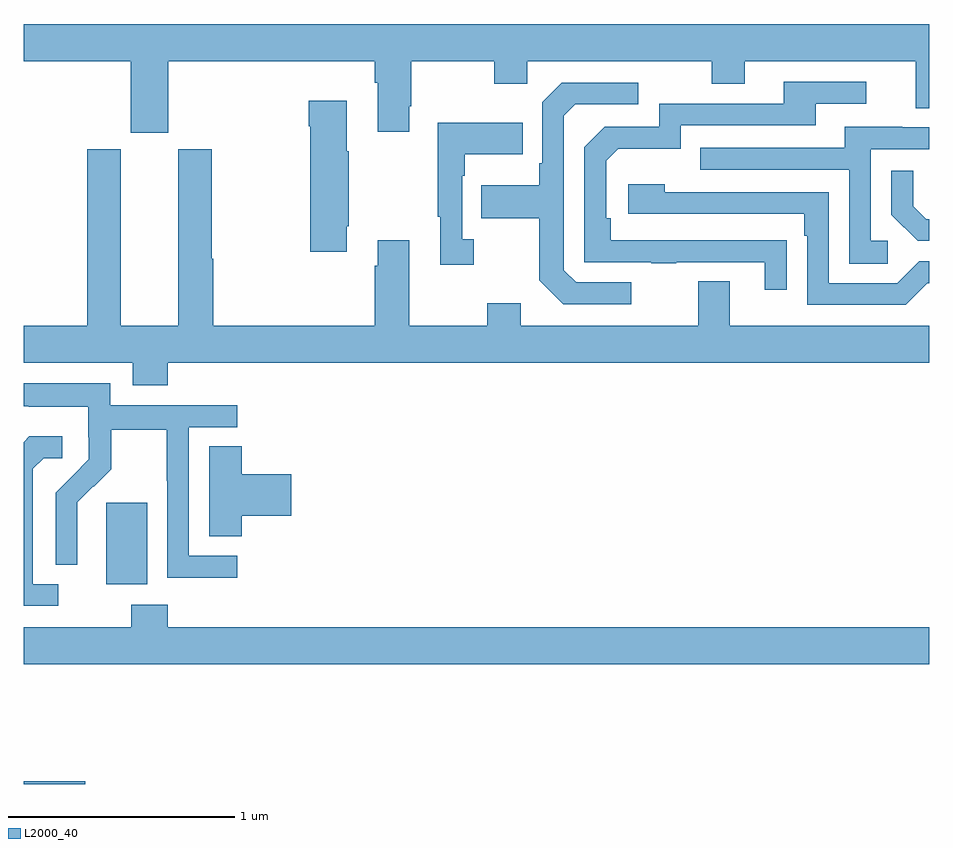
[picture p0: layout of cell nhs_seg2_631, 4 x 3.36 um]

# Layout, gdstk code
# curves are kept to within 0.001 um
import gdstk
lib = gdstk.Library(unit=1e-6, precision=1e-09)
def R(c, l, rs):  # rectangles x0, y0, x1, y1
    for r in rs: c.add(gdstk.rectangle(r[:2], r[2:], *l))
def P(c, l, *ps):  # polygons
    for p in ps: c.add(gdstk.Polygon(p, *l))
L2000_40 = (2000, 40)

nhs_seg2_631 = lib.new_cell('nhs_seg2_631')
R(nhs_seg2_631, L2000_40, [(143,621.8,143.272,621.812), (143.366,622.682,143.545,623.043)])
P(nhs_seg2_631, L2000_40, [(143.638,624.992),(144.551,624.992),(144.551,624.896),(144.563,624.896),(144.563,624.681),(144.703,624.681),(144.703,624.793),(144.711,624.793),(144.711,624.992),(145.078,624.992),(145.078,624.893),(145.224,624.893),(145.224,624.992),(146.038,624.992),(146.038,624.893),(146.185,624.893),(146.185,624.992),(146.939,624.992),(146.939,624.784),(147,624.784),(147,625.156),(143,625.156),(143,624.992),(143.474,624.992),(143.474,624.675),(143.638,624.675)],
  [(146.369,624.2),(145.592,624.201),(145.592,624.298),(145.572,624.298),(145.572,624.552),(145.625,624.605),(145.902,624.605),(145.902,624.708),(146.497,624.708),(146.497,624.804),(146.722,624.804),(146.722,624.9),(146.357,624.9),(146.357,624.804),(145.806,624.804),(145.806,624.702),(145.566,624.702),(145.476,624.612),(145.476,624.105),(145.771,624.105),(145.771,624.1),(145.883,624.1),(145.883,624.105),(146.273,624.105),(146.273,623.982),(146.369,623.982)],
  [(145.684,624.015),(145.44,624.015),(145.386,624.069),(145.386,624.75),(145.437,624.801),(145.714,624.801),(145.714,624.897),(145.377,624.897),(145.29,624.81),(145.29,624.541),(145.278,624.541),(145.278,624.445),(145.021,624.445),(145.021,624.298),(145.278,624.298),(145.278,624.025),(145.383,623.919),(145.684,623.919)],
  [(144.427,624.262),(144.435,624.262),(144.435,624.593),(144.427,624.593),(144.427,624.817),(144.26,624.817),(144.26,624.704),(144.265,624.704),(144.265,624.15),(144.427,624.15)],
  [(144.988,624.206),(144.936,624.206),(144.936,624.485),(144.949,624.485),(144.949,624.581),(145.205,624.581),(145.205,624.721),(144.828,624.721),(144.828,624.305),(144.839,624.305),(144.839,624.093),(144.988,624.093)],
  [(146.815,624.198),(146.742,624.198),(146.742,624.603),(147,624.603),(147,624.699),(146.881,624.699),(146.881,624.703),(146.627,624.703),(146.627,624.609),(145.987,624.609),(145.987,624.513),(146.646,624.513),(146.646,624.097),(146.815,624.097)],
  [(143.636,623.66),(147,623.66),(147,623.824),(146.119,623.824),(146.119,624.019),(145.979,624.019),(145.979,623.824),(145.195,623.824),(145.195,623.923),(145.048,623.923),(145.048,623.824),(144.703,623.824),(144.703,624.202),(144.563,624.202),(144.563,624.089),(144.551,624.089),(144.551,623.824),(143.837,623.824),(143.837,624.12),(143.832,624.12),(143.832,624.603),(143.684,624.603),(143.684,623.824),(143.428,623.824),(143.428,624.603),(143.281,624.603),(143.281,623.824),(143,623.824),(143,623.66),(143.483,623.66),(143.483,623.561),(143.636,623.561)],
  [(147,624.294),(146.986,624.294),(146.929,624.351),(146.929,624.508),(146.832,624.508),(146.832,624.314),(146.948,624.198),(147,624.198)],
  [(146.991,624.012),(147,624.012),(147,624.108),(146.955,624.108),(146.859,624.012),(146.556,624.012),(146.556,624.414),(145.832,624.414),(145.832,624.448),(145.671,624.448),(145.671,624.318),(146.447,624.318),(146.447,624.221),(146.46,624.221),(146.46,623.916),(146.895,623.916)],
  [(143.944,622.809),(143.73,622.809),(143.73,623.376),(143.944,623.376),(143.944,623.472),(143.382,623.472),(143.382,623.569),(143,623.569),(143,623.469),(143.023,623.469),(143.023,623.465),(143.286,623.465),(143.286,623.331),(143.288,623.331),(143.288,623.234),(143.142,623.086),(143.142,622.768),(143.238,622.768),(143.237,623.045),(143.307,623.115),(143.31,623.112),(143.387,623.189),(143.387,623.364),(143.632,623.364),(143.632,623.14),(143.634,623.14),(143.634,622.711),(143.944,622.711)],
  [(143.152,622.683),(143.041,622.683),(143.041,623.191),(143.088,623.238),(143.17,623.238),(143.17,623.335),(143.026,623.335),(143,623.309),(143,622.587),(143.152,622.587)],
  [(143.963,622.985),(144.181,622.985),(144.181,623.168),(143.963,623.168),(143.963,623.291),(143.819,623.291),(143.819,622.894),(143.963,622.894)],
  [(147,622.492),(143.636,622.492),(143.636,622.591),(143.476,622.591),(143.476,622.492),(143,622.492),(143,622.328),(147,622.328)])

lib.write_gds('nhs_seg2_631.gds')
